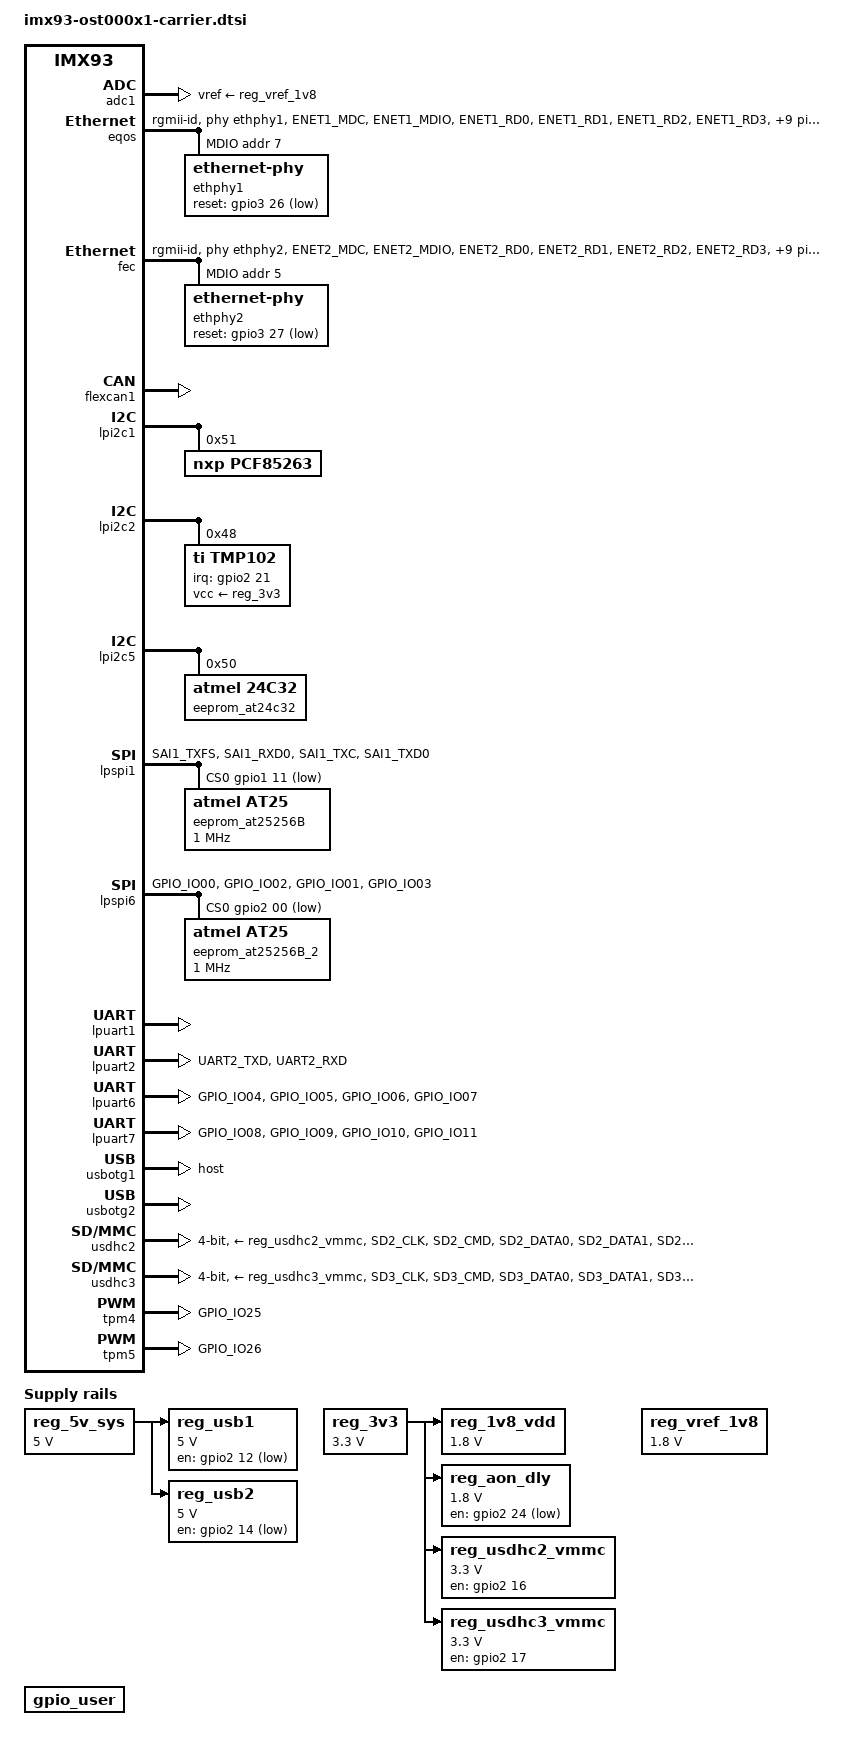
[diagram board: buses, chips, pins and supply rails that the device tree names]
// SPDX-License-Identifier: (GPL-2.0+ OR MIT)
/*
 * Copyright 2022 NXP
 */


#include <dt-bindings/leds/common.h>
#include <dt-bindings/thermal/thermal.h>

/ {

	aliases {
		rtc0 = &bbnsm_rtc;
		rtc1 = &pcf85263;
	};

	// REGULATORS
	reg_5v_sys: regulator-5V-sys {
		// U3 system voltage 5V TPS54361 @3.5A
		compatible = "regulator-fixed";
		regulator-name = "VSYS_5V";
		regulator-min-microvolt = <5000000>;
		regulator-max-microvolt = <5000000>;
	};

	reg_3v3: regulator-3V3 {
		// U7 regulator for 3V3 TPS54361 @3.5A
		compatible = "regulator-fixed";
		regulator-name = "REG_3V3";
		regulator-min-microvolt = <3300000>;
		regulator-max-microvolt = <3300000>;

	};

	reg_1v8_vdd: regulator-1V8 {
		// U1 regulator for 1V8 AP7361E @1A
		compatible = "regulator-fixed";
		regulator-name = "REG_1V8";
		regulator-min-microvolt = <1800000>;
		regulator-max-microvolt = <1800000>;
		vin-supply = <&reg_3v3>;
	};

	reg_vref_1v8: regulator-adc-vref {
		compatible = "regulator-fixed";
		regulator-name = "vref_1v8";
		regulator-min-microvolt = <1800000>;
		regulator-max-microvolt = <1800000>;
	};

	reg_aon_dly: regulator-aon-dly {
		// U6 regulator for 1V8 or 3V3 dependig on mountig
		compatible = "regulator-fixed";
		pinctrl-names = "default";
		pinctrl-0 = <&pinctrl_reg_aon_dly>;
		regulator-name = "REG_AON_DLY";
		regulator-min-microvolt = <1800000>;
		regulator-max-microvolt = <1800000>;
		vin-supply = <&reg_3v3>;
		gpio = <&gpio2 24 GPIO_ACTIVE_HIGH>;
		off-on-delay-us = <12000>;
		enable-active-low;		
	};

	reg_usdhc2_vmmc: regulator-usdhc2  {
		// uSD2 pwr-enable
		compatible = "regulator-fixed";
		pinctrl-names = "default";
		pinctrl-0 = <&pinctrl_reg_usdhc2_vmmc>;
		regulator-name = "VSD2_3V3";
		regulator-min-microvolt = <3300000>;
		regulator-max-microvolt = <3300000>;
		vin-supply = <&reg_3v3>;
		gpio = <&gpio2 16 GPIO_ACTIVE_HIGH>;
		off-on-delay-us = <12000>;
		enable-active-high;		
	};

	reg_usdhc3_vmmc: regulator-usdhc3  {
		// uSD3 pwr-enable
		compatible = "regulator-fixed";
		pinctrl-names = "default";
		pinctrl-0 = <&pinctrl_reg_usdhc3_vmmc>;
		regulator-name = "VSD3_3V3";
		regulator-min-microvolt = <3300000>;
		regulator-max-microvolt = <3300000>;
		vin-supply = <&reg_3v3>;
		gpio = <&gpio2 17 GPIO_ACTIVE_HIGH>;
		off-on-delay-us = <12000>;
		enable-active-high;
		regulator-always-on;
	};

	reg_usb1: regulator-usb1 {
		// U23 regulator for USB1 AP22811AW5-7
		compatible = "regulator-fixed";
		pinctrl-names = "default";
		pinctrl-0 = <&pinctrl_reg_usb_vbus1>;
		regulator-name = "USB_VBUS1";
		regulator-min-microvolt = <5000000>;
		regulator-max-microvolt = <5000000>;
		vin-supply = <&reg_5v_sys>;
		gpio = <&gpio2 12 GPIO_ACTIVE_LOW>;
		off-on-delay-us = <12000>;
		enable-active-low;
	};

	reg_usb2: regulator-usb2 {
		// U24 regulator for USB2 AP22811AW5-7
		compatible = "regulator-fixed";
		pinctrl-names = "default";
		pinctrl-0 = <&pinctrl_reg_usb_vbus2>;
		regulator-name = "USB_VBUS2";
		regulator-min-microvolt = <5000000>;
		regulator-max-microvolt = <5000000>;
		vin-supply = <&reg_5v_sys>;
		gpio = <&gpio2 14 GPIO_ACTIVE_LOW>;
		off-on-delay-us = <12000>;
		enable-active-low;
	};

/*
	reg_3v3_camera: regulator-3v3-camera {
		// U38 regulator for MIPI-CSI camera AP22811AW5-7
		compatible = "regulator-fixed";
		pinctrl-names = "default";
		pinctrl-0 = <&pinctrl_reg_3v3_camera>;
		regulator-name = "3V3_CAMERA";
		regulator-min-microvolt = <3300000>;
		regulator-max-microvolt = <3300000>;
		vin-supply = <&reg_3v3>;
		gpio = <&gpio2 16 GPIO_ACTIVE_HIGH>;
		off-on-delay-us = <12000>;
		enable-active-high;
	};

	reg_3v3_ts: regulator-3v3-ts {
		// U37 regulator for DSI AP22811AW5-7
		compatible = "regulator-fixed";
		pinctrl-names = "default";
		pinctrl-0 = <&pinctrl_reg_3v3_ts>;
		regulator-name = "3V3_TS";
		regulator-min-microvolt = <3300000>;
		regulator-max-microvolt = <3300000>;
		vin-supply = <&reg_3v3_vio>;
		gpio = <&gpio2 17 GPIO_ACTIVE_LOW>;
		off-on-delay-us = <12000>;
		enable-active-low;
	};
*/

	gpio_user: gpio_user {
		// gpios tested as regulators
		compatible = "regulator-fixed";
		pinctrl-names = "default";
		pinctrl-0 = <&pinctrl_gpio_user>;
		regulator-name = "BOARD_GPIO_CONFIG";
		status = "okay";
	};

};


//=============================================================================
//=== ADC
//=============================================================================
&adc1 {
	vref-supply = <&reg_vref_1v8>;
	status = "okay";
};

//=============================================================================
//=== EQOS
//=============================================================================
&eqos {
	pinctrl-names = "default", "sleep";
	pinctrl-0 = <&pinctrl_eqos>;
	pinctrl-1 = <&pinctrl_eqos_sleep>;
	phy-mode = "rgmii-id";
	phy-handle = <&ethphy1>;
	status = "okay";

	mdio {
		compatible = "snps,dwmac-mdio";
		#address-cells = <1>;
		#size-cells = <0>;
		clock-frequency = <5000000>;

		ethphy1: ethernet-phy@7 {
			reg = <7>;
			reset-gpios = <&gpio3 26 GPIO_ACTIVE_LOW>;
			reset-assert-us = <10000>;
			reset-deassert-us = <80000>;
		};
	};
};

//=============================================================================
//=== FEC
//=============================================================================
&fec {
	pinctrl-names = "default", "sleep";
	pinctrl-0 = <&pinctrl_fec>;
	pinctrl-1 = <&pinctrl_fec_sleep>;
	phy-mode = "rgmii-id";
	phy-handle = <&ethphy2>;
	fsl,magic-packet;
	status = "okay";

	mdio {
		#address-cells = <1>;
		#size-cells = <0>;
		clock-frequency = <5000000>;

		ethphy2: ethernet-phy@5 {
			reg = <5>;
			reset-gpios = <&gpio3 27 GPIO_ACTIVE_LOW>;
			reset-assert-us = <10000>;
			reset-deassert-us = <80000>;
		};
	};
};

//=============================================================================
//=== CAN1
//=============================================================================
&flexcan1 {
	status = "okay";
};

//=============================================================================
//=== I2C1
//=============================================================================
&lpi2c1 {
	status = "okay";
	
	pcf85263: rtc@51 {
		compatible = "nxp,pcf85263";
		reg = <0x51>;
	};	
};	

//=============================================================================
//=== I2C2
//=============================================================================
&lpi2c2 {
	status = "okay";

	tmp102: sensor@48 {
		compatible = "ti,tmp102";
		reg = <0x48>;
		interrupt-parent = <&gpio2>;
		interrupts = <21 IRQ_TYPE_LEVEL_LOW>;
		vcc-supply = <&reg_3v3>;
		#thermal-sensor-cells = <0>;
	};

};

//=============================================================================
//=== I2C5
//=============================================================================
&lpi2c5 {
	status = "okay";
	
	eeprom_at24c32: eeprom@50 {
		compatible = "atmel,24c32";
		reg = <0x50>;
		//vcc-supply = <&reg_1v8_vdd>;
		pagesize = <32>;
		num-addresses = <8>;
	};
};	

//=============================================================================
//=== SPI1
//=============================================================================
&lpspi1 {
	#address-cells = <1>;
	#size-cells = <0>;
	fsl,spi-num-chipselects = <1>;
	pinctrl-names = "default", "sleep";
	pinctrl-0 = <&pinctrl_lpspi1>;
	pinctrl-1 = <&pinctrl_lpspi1>;
	cs-gpios = <&gpio1 11 GPIO_ACTIVE_LOW>;
	status = "okay";
	
	eeprom_at25256B: eeprom@0 {
		compatible = "atmel,at25";
		spi-max-frequency = <1000000>;
		size = <0x8000>;
		pagesize = <64>;
		reg = <0>;
		address-width = <16>;	
	};
};

//=============================================================================
//=== SPI6
//=============================================================================
&lpspi6 {
	#address-cells = <1>;
	#size-cells = <0>;
	fsl,spi-num-chipselects = <1>;
	pinctrl-names = "default", "sleep";
	pinctrl-0 = <&pinctrl_lpspi6>;
	pinctrl-1 = <&pinctrl_lpspi6>;
	cs-gpios = <&gpio2 00 GPIO_ACTIVE_LOW>;
	status = "okay";
	
	eeprom_at25256B_2: eeprom@0 {
		compatible = "atmel,at25";
		spi-max-frequency = <1000000>;
		size = <0x8000>;
		pagesize = <64>;
		reg = <0>;
		address-width = <16>;
	};	
		
};

//=============================================================================
//=== UART1 console
//=============================================================================
&lpuart1 { /* console */
	status = "okay";
};

//=============================================================================
//=== UART2
//=============================================================================
&lpuart2 {
	pinctrl-names = "default";
	pinctrl-0 = <&pinctrl_uart2>;
	status = "okay";
};

//=============================================================================
//=== UART6 RS232
//=============================================================================
&lpuart6 {
	pinctrl-names = "default";
	pinctrl-0 = <&pinctrl_uart6>;
	uart-has-rtscts;
	status = "okay";
};

//=============================================================================
//=== UART7 RS232
//=============================================================================
&lpuart7 {
	pinctrl-names = "default";
	pinctrl-0 = <&pinctrl_uart7>;
	uart-has-rtscts;
	status = "okay";
};

//=============================================================================
//=== USB2 otg
//=============================================================================
&usbotg1 {
	dr_mode = "host";
	/delete-property/ hnp-disable;
	/delete-property/ srp-disable;
	/delete-property/ adp-disable;
	/delete-property/ usb-role-switch;
	status = "okay";
};

//=============================================================================
//=== USB2 host
//=============================================================================
&usbotg2 {
	status = "okay";
};

//=============================================================================
//=== USDHC2 usd
//=============================================================================
&usdhc2 {
 	pinctrl-names = "default";
	pinctrl-0 = <&pinctrl_usdhc2>, <&pinctrl_usdhc2_gpio>;
	cd-gpios = <&gpio3 00 GPIO_ACTIVE_LOW>;
	fsl,cd-gpio-wakeup-disable;
	vmmc-supply = <&reg_usdhc2_vmmc>;
	bus-width = <4>;
	no-mmc;
	status = "okay";
};

//=============================================================================
//=== USDHC3 usd
//=============================================================================
&usdhc3 {
	pinctrl-names = "default";
	pinctrl-0 = <&pinctrl_usdhc3>, <&pinctrl_usdhc3_gpio>;
	cd-gpios = <&gpio2 20 GPIO_ACTIVE_LOW>;
	vmmc-supply = <&reg_usdhc3_vmmc>;
	bus-width = <4>;
	no-sdio;
	no-mmc;
	status = "okay";
};

//=============================================================================
//=== TPM4
//=============================================================================
&tpm4 {
	pinctrl-names = "default";
	pinctrl-0 = <&pinctrl_tpm4>;
	status = "okay";
};

//=============================================================================
//=== TPM5
//=============================================================================
&tpm5 {
	pinctrl-names = "default";
	pinctrl-0 = <&pinctrl_tpm5>;
	status = "okay";
};

//=============================================================================
//=== THERMAL ZONES
//=============================================================================
&thermal_zones {
	
	carrier-thermal {
		polling-delay-passive = <1000>;
		polling-delay = <1000>;
		
		thermal-sensors = <&tmp102 0>;
        
		trips {
			carrier_alert0: trip0 {
				temperature = <60000>;
				hysteresis = <5000>;
				type = "passive";
			};
			carrier_crit: trip1 {
				temperature = <100000>;
				hysteresis = <5000>;
				type = "critical";
			};
		};
	};
};


//=============================================================================
//#############################################################################
//=== PINMUX
//#############################################################################
//=============================================================================
&iomuxc {

	pinctrl_reg_aon_dly: regaondlygrp {
		fsl,pins = <
			MX93_PAD_GPIO_IO24__GPIO2_IO24								0x91e
		>;
	};

	pinctrl_reg_usdhc2_vmmc: regusdhc2vmmcgrp {
		fsl,pins = <
			MX93_PAD_GPIO_IO16__GPIO2_IO16								0x31e
		>;
	};

	pinctrl_reg_usdhc3_vmmc: regusdhc3vmmcgrp {
		fsl,pins = <
			MX93_PAD_GPIO_IO17__GPIO2_IO17								0x31e
		>;
	};
	
	pinctrl_gpio_user: gpiousrgrp {
		fsl,pins = <
			MX93_PAD_DAP_TCLK_SWCLK__GPIO3_IO30							0x51e
			MX93_PAD_DAP_TDI__GPIO3_IO28								0x51e
			MX93_PAD_DAP_TDO_TRACESWO__GPIO3_IO31						0x51e
			MX93_PAD_DAP_TMS_SWDIO__GPIO3_IO29							0x51e
		>;
	};
	
/*
	pinctrl_reg_3v3_camera: reg3v3cameragrp {
		fsl,pins = <
			MX93_PAD_GPIO_IO16__GPIO2_IO16								0x31e
		>;
	};	

	pinctrl_reg_3v3_ts: reg3v3tsgrp {
		fsl,pins = <
			MX93_PAD_GPIO_IO17__GPIO2_IO17								0x91e
		>;
	};
*/
	pinctrl_uart2: uart2grp {
		fsl,pins = <
			MX93_PAD_UART2_TXD__LPUART2_TX								0x31e
			MX93_PAD_UART2_RXD__LPUART2_RX								0x31e
		>;
	};

	pinctrl_uart3: uart3grp {
		fsl,pins = <
		    MX93_PAD_GPIO_IO14__LPUART3_TX								0x31e
            MX93_PAD_GPIO_IO15__LPUART3_RX								0x31e
            MX93_PAD_GPIO_IO16__LPUART3_CTS_B							0x31e
            MX93_PAD_GPIO_IO17__LPUART3_RTS_B							0x31e
		>;
	};

	pinctrl_uart6: uart6grp {
		fsl,pins = <
		    MX93_PAD_GPIO_IO04__LPUART6_TX								0x31e
            MX93_PAD_GPIO_IO05__LPUART6_RX								0x31e
            MX93_PAD_GPIO_IO06__LPUART6_CTS_B							0x31e
            MX93_PAD_GPIO_IO07__LPUART6_RTS_B							0x31e
		>;
	};

	pinctrl_uart7: uart7grp {
		fsl,pins = <
		    MX93_PAD_GPIO_IO08__LPUART7_TX								0x31e
            MX93_PAD_GPIO_IO09__LPUART7_RX								0x31e
            MX93_PAD_GPIO_IO10__LPUART7_CTS_B							0x31e
            MX93_PAD_GPIO_IO11__LPUART7_RTS_B							0x31e
		>;
	};

	pinctrl_lpspi1: lpspi1grp {
		fsl,pins = <
			MX93_PAD_SAI1_TXFS__GPIO1_IO11								0x3fe
			MX93_PAD_SAI1_RXD0__LPSPI1_SOUT            					0x3fe
			MX93_PAD_SAI1_TXC__LPSPI1_SIN              					0x3fe
			MX93_PAD_SAI1_TXD0__LPSPI1_SCK             					0x3fe
		>;
	};

	pinctrl_lpspi6: lpspi6grp {
		fsl,pins = <
			MX93_PAD_GPIO_IO00__GPIO2_IO00								0x3fe
			MX93_PAD_GPIO_IO02__LPSPI6_SOUT            					0x3fe
			MX93_PAD_GPIO_IO01__LPSPI6_SIN              				0x3fe
			MX93_PAD_GPIO_IO03__LPSPI6_SCK             					0x3fe
		>;
	};

	pinctrl_reg_usb_vbus1: regusbvbus1grp {
		fsl,pins = <
			MX93_PAD_GPIO_IO12__GPIO2_IO12								0x31e
		>;
	};

	pinctrl_reg_usb_vbus2: regusbvbus2grp {
		fsl,pins = <
			MX93_PAD_GPIO_IO14__GPIO2_IO14								0x31e
		>;
	};

	pinctrl_eqos: eqosgrp {
		fsl,pins = <		
			MX93_PAD_ENET1_MDC__ENET_QOS_MDC							0x57e
			MX93_PAD_ENET1_MDIO__ENET_QOS_MDIO							0x57e
			MX93_PAD_ENET1_RD0__ENET_QOS_RGMII_RD0						0x57e
			MX93_PAD_ENET1_RD1__ENET_QOS_RGMII_RD1						0x57e
			MX93_PAD_ENET1_RD2__ENET_QOS_RGMII_RD2						0x57e
			MX93_PAD_ENET1_RD3__ENET_QOS_RGMII_RD3						0x57e
			MX93_PAD_ENET1_RXC__CCM_ENET_QOS_CLOCK_GENERATE_RX_CLK		0x58e
			MX93_PAD_ENET1_RX_CTL__ENET_QOS_RGMII_RX_CTL				0x57e
			MX93_PAD_ENET1_TD0__ENET_QOS_RGMII_TD0						0x57e
			MX93_PAD_ENET1_TD1__ENET_QOS_RGMII_TD1						0x57e
			MX93_PAD_ENET1_TD2__ENET_QOS_RGMII_TD2						0x57e
			MX93_PAD_ENET1_TD3__ENET_QOS_RGMII_TD3						0x57e
			MX93_PAD_ENET1_TXC__CCM_ENET_QOS_CLOCK_GENERATE_TX_CLK		0x58e
			MX93_PAD_ENET1_TX_CTL__ENET_QOS_RGMII_TX_CTL				0x57e
			MX93_PAD_CCM_CLKO1__GPIO3_IO26								0x91e
		>;
	};

	pinctrl_eqos_sleep: eqosgrpsleep {
		fsl,pins = <
			MX93_PAD_ENET1_MDC__GPIO4_IO00								0x31e
			MX93_PAD_ENET1_MDIO__GPIO4_IO01								0x31e
			MX93_PAD_ENET1_RD0__GPIO4_IO10                          	0x31e
			MX93_PAD_ENET1_RD1__GPIO4_IO11								0x31e
			MX93_PAD_ENET1_RD2__GPIO4_IO12								0x31e
			MX93_PAD_ENET1_RD3__GPIO4_IO13								0x31e
			MX93_PAD_ENET1_RXC__GPIO4_IO09                          	0x31e
			MX93_PAD_ENET1_RX_CTL__GPIO4_IO08							0x31e
			MX93_PAD_ENET1_TD0__GPIO4_IO05                          	0x31e
			MX93_PAD_ENET1_TD1__GPIO4_IO04                          	0x31e
			MX93_PAD_ENET1_TD2__GPIO4_IO03								0x31e
			MX93_PAD_ENET1_TD3__GPIO4_IO02								0x31e
			MX93_PAD_ENET1_TXC__GPIO4_IO07                          	0x31e
			MX93_PAD_ENET1_TX_CTL__GPIO4_IO06                       	0x31e
			MX93_PAD_CCM_CLKO1__GPIO3_IO26								0x91e
		>;
	};

	pinctrl_fec: fecgrp {
		fsl,pins = <
			MX93_PAD_ENET2_MDC__ENET1_MDC								0x57e
			MX93_PAD_ENET2_MDIO__ENET1_MDIO								0x57e
			MX93_PAD_ENET2_RD0__ENET1_RGMII_RD0							0x57e
			MX93_PAD_ENET2_RD1__ENET1_RGMII_RD1							0x57e
			MX93_PAD_ENET2_RD2__ENET1_RGMII_RD2							0x57e
			MX93_PAD_ENET2_RD3__ENET1_RGMII_RD3							0x57e
			MX93_PAD_ENET2_RXC__ENET1_RGMII_RXC							0x58e
			MX93_PAD_ENET2_RX_CTL__ENET1_RGMII_RX_CTL					0x57e
			MX93_PAD_ENET2_TD0__ENET1_RGMII_TD0							0x57e
			MX93_PAD_ENET2_TD1__ENET1_RGMII_TD1							0x57e
			MX93_PAD_ENET2_TD2__ENET1_RGMII_TD2							0x57e
			MX93_PAD_ENET2_TD3__ENET1_RGMII_TD3							0x57e
			MX93_PAD_ENET2_TXC__ENET1_RGMII_TXC							0x58e
			MX93_PAD_ENET2_TX_CTL__ENET1_RGMII_TX_CTL					0x57e
			MX93_PAD_CCM_CLKO2__GPIO3_IO27								0x91e
		>;
	};

	pinctrl_fec_sleep: fecsleepgrp {
		fsl,pins = <
			MX93_PAD_ENET2_MDC__GPIO4_IO14								0x51e
			MX93_PAD_ENET2_MDIO__GPIO4_IO15								0x51e
			MX93_PAD_ENET2_RD0__GPIO4_IO24								0x51e
			MX93_PAD_ENET2_RD1__GPIO4_IO25								0x51e
			MX93_PAD_ENET2_RD2__GPIO4_IO26								0x51e
			MX93_PAD_ENET2_RD3__GPIO4_IO27								0x51e
			MX93_PAD_ENET2_RXC__GPIO4_IO23                  			0x51e
			MX93_PAD_ENET2_RX_CTL__GPIO4_IO22							0x51e
			MX93_PAD_ENET2_TD0__GPIO4_IO19								0x51e
			MX93_PAD_ENET2_TD1__GPIO4_IO18								0x51e
			MX93_PAD_ENET2_TD2__GPIO4_IO17								0x51e
			MX93_PAD_ENET2_TD3__GPIO4_IO16								0x51e
			MX93_PAD_ENET2_TXC__GPIO4_IO21                  			0x51e
			MX93_PAD_ENET2_TX_CTL__GPIO4_IO20               			0x51e
			MX93_PAD_CCM_CLKO2__GPIO3_IO27								0x91e
		>;
	};

	pinctrl_usdhc2_gpio: usdhc2gpiogrp {
		fsl,pins = <
			MX93_PAD_SD2_CD_B__GPIO3_IO00								0x31e
		>;
	};

	pinctrl_usdhc2_gpio_sleep: usdhc2gpiogrpsleep {
		fsl,pins = <
			MX93_PAD_SD2_CD_B__GPIO3_IO00								0x51e
		>;
	};

	pinctrl_usdhc3_gpio: usdhc3gpiogrp {
		fsl,pins = <
			MX93_PAD_GPIO_IO20__GPIO2_IO20								0x31e
		>;
	};

	pinctrl_usdhc3_gpio_sleep: usdhc3gpiogrpsleep {
		fsl,pins = <
			MX93_PAD_GPIO_IO20__GPIO2_IO20								0x51e
		>;
	};

	/* need to config the SION for data and cmd pad, refer to ERR052021 */
	pinctrl_usdhc2: usdhc2grp {
		fsl,pins = <
			MX93_PAD_SD2_CLK__USDHC2_CLK								0x1506
			MX93_PAD_SD2_CMD__USDHC2_CMD								0x40001306
			MX93_PAD_SD2_DATA0__USDHC2_DATA0							0x40001306
			MX93_PAD_SD2_DATA1__USDHC2_DATA1							0x40001306
			MX93_PAD_SD2_DATA2__USDHC2_DATA2							0x40001306
			MX93_PAD_SD2_DATA3__USDHC2_DATA3							0x40001306
			MX93_PAD_SD2_VSELECT__USDHC2_VSELECT						0x51e	
		>;
	};

	/* need to config the SION for data and cmd pad, refer to ERR052021 */
	pinctrl_usdhc2_100mhz: usdhc2-100mhzgrp {
		fsl,pins = <
			MX93_PAD_SD2_CLK__USDHC2_CLK								0x158e
			MX93_PAD_SD2_CMD__USDHC2_CMD								0x4000138e
			MX93_PAD_SD2_DATA0__USDHC2_DATA0							0x4000138e
			MX93_PAD_SD2_DATA1__USDHC2_DATA1							0x4000138e
			MX93_PAD_SD2_DATA2__USDHC2_DATA2							0x4000138e
			MX93_PAD_SD2_DATA3__USDHC2_DATA3							0x4000138e
			MX93_PAD_SD2_VSELECT__USDHC2_VSELECT						0x51e
		>;
	};

	/* need to config the SION for data and cmd pad, refer to ERR052021 */
	pinctrl_usdhc2_200mhz: usdhc2-200mhzgrp {
		fsl,pins = <
			MX93_PAD_SD2_CLK__USDHC2_CLK								0x15fe
			MX93_PAD_SD2_CMD__USDHC2_CMD								0x400013fe
			MX93_PAD_SD2_DATA0__USDHC2_DATA0							0x400013fe
			MX93_PAD_SD2_DATA1__USDHC2_DATA1							0x400013fe
			MX93_PAD_SD2_DATA2__USDHC2_DATA2							0x400013fe
			MX93_PAD_SD2_DATA3__USDHC2_DATA3							0x400013fe
			MX93_PAD_SD2_VSELECT__USDHC2_VSELECT						0x51e
		>;
	};

	pinctrl_usdhc2_sleep: usdhc2grpsleep {
		fsl,pins = <
			MX93_PAD_SD2_CLK__GPIO3_IO01            					0x51e
			MX93_PAD_SD2_CMD__GPIO3_IO02								0x51e
			MX93_PAD_SD2_DATA0__GPIO3_IO03								0x51e
			MX93_PAD_SD2_DATA1__GPIO3_IO04								0x51e
			MX93_PAD_SD2_DATA2__GPIO3_IO05								0x51e
			MX93_PAD_SD2_DATA3__GPIO3_IO06								0x51e
			MX93_PAD_SD2_VSELECT__GPIO3_IO19							0x51e
		>;
	};
	
	/* need to config the SION for data and cmd pad, refer to ERR052021 */
	pinctrl_usdhc3: usdhc3grp {
		fsl,pins = <
			MX93_PAD_SD3_CLK__USDHC3_CLK								0x1506
			MX93_PAD_SD3_CMD__USDHC3_CMD								0x40001106
			MX93_PAD_SD3_DATA0__USDHC3_DATA0							0x40001106
			MX93_PAD_SD3_DATA1__USDHC3_DATA1							0x40001106
			MX93_PAD_SD3_DATA2__USDHC3_DATA2							0x40001106
			MX93_PAD_SD3_DATA3__USDHC3_DATA3							0x40001106
		>;
	};
	
	/* need to config the SION for data and cmd pad, refer to ERR052021 */
	pinctrl_usdhc3_100mhz: usdhc3-100mhzgrp {
		fsl,pins = <
			MX93_PAD_SD3_CLK__USDHC3_CLK								0x158e
			MX93_PAD_SD3_CMD__USDHC3_CMD								0x4000138e
			MX93_PAD_SD3_DATA0__USDHC3_DATA0							0x4000138e
			MX93_PAD_SD3_DATA1__USDHC3_DATA1							0x4000138e
			MX93_PAD_SD3_DATA2__USDHC3_DATA2							0x4000138e
			MX93_PAD_SD3_DATA3__USDHC3_DATA3							0x4000138e
		>;
	};

	/* need to config the SION for data and cmd pad, refer to ERR052021 */
	pinctrl_usdhc3_200mhz: usdhc3-200mhzgrp {
		fsl,pins = <
			MX93_PAD_SD3_CLK__USDHC3_CLK								0x15fe
			MX93_PAD_SD3_CMD__USDHC3_CMD								0x400013fe
			MX93_PAD_SD3_DATA0__USDHC3_DATA0							0x400013fe
			MX93_PAD_SD3_DATA1__USDHC3_DATA1							0x400013fe
			MX93_PAD_SD3_DATA2__USDHC3_DATA2							0x400013fe
			MX93_PAD_SD3_DATA3__USDHC3_DATA3							0x400013fe
		>;
	};	

	pinctrl_usdhc3_sleep: usdhc3grpsleep {
		fsl,pins = <
			MX93_PAD_SD3_CLK__USDHC3_CLK								0x51e
			MX93_PAD_SD3_CMD__USDHC3_CMD								0x51e
			MX93_PAD_SD3_DATA0__USDHC3_DATA0							0x51e
			MX93_PAD_SD3_DATA1__USDHC3_DATA1							0x51e
			MX93_PAD_SD3_DATA2__USDHC3_DATA2							0x51e
			MX93_PAD_SD3_DATA3__USDHC3_DATA3							0x51e
		>;
	};

	pinctrl_tpm4: tmp4grp {
		fsl,pins = <
			MX93_PAD_GPIO_IO25__TPM4_CH3								0x19e
		>;
	};

	pinctrl_tpm5: tmp5grp {
		fsl,pins = <
			MX93_PAD_GPIO_IO26__TPM5_CH3								0x19e
		>;
	};

};
